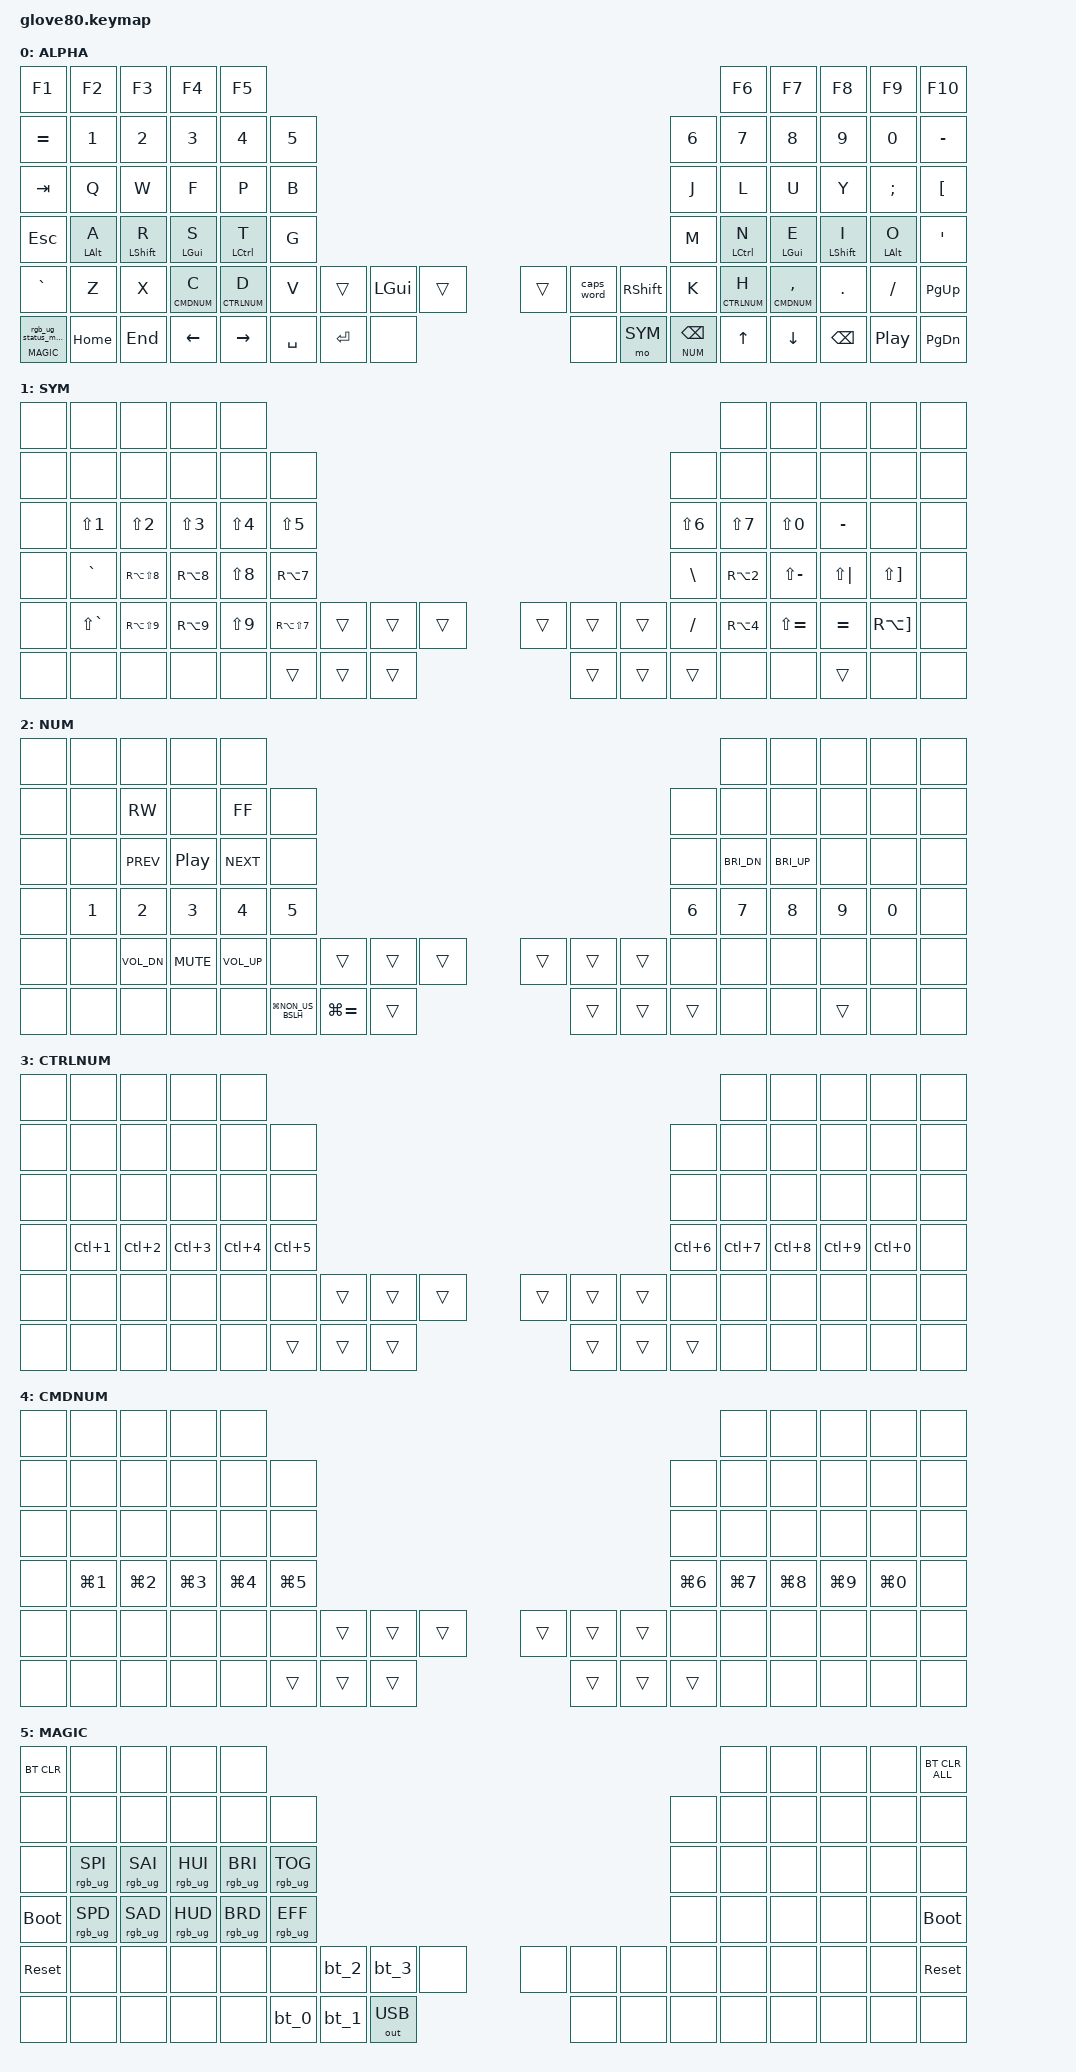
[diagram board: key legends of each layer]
/*
* Copyright (c) 2020 The ZMK Contributors
* Copyright (c) 2025 Innaworks Development Limited, trading as MoErgo
*
* SPDX-License-Identifier: MIT
*/


/* THIS FILE WAS GENERATED BY GLOVE80 LAYOUT EDITOR
*
* This file was generated automatically. You may or may not want to
* edit it directly.
*/

#include <behaviors.dtsi>
/* Include all behavior includes needed */
#include <dt-bindings/zmk/outputs.h>
#include <dt-bindings/zmk/keys.h>
#include <dt-bindings/zmk/bt.h>
#include <dt-bindings/zmk/rgb.h>

#define KSFT 57
#define KDOT 60
#define KCOMMA 61
#define KMINUS 62
#define KA 35
#define KB 27
#define KC 49
#define KD 50
#define KE 42
#define KF 25
#define KG 39
#define KH 59
#define KI 43
#define KJ 28
#define KK 58
#define KL 29
#define KM 40
#define KN 41
#define KO 44
#define KAUML 45
#define KP 26
#define KQ 23
#define KR 36
#define KS 37
#define KT 38
#define KU 30
#define KV 51
#define KW 24
#define KX 48
#define KY 31
#define KOUML 32
#define KARING 33
#define KZ 47
#define ARROWL 67 
#define ARROWR 68
#define KSPACE 70
#define KBSPC 74
#define KBSPC2 77
#define KDUP 74
#define KAPOS 999999

/* Automatically generated layer name #define */
#define ALPHA 0
#define SYM 1
#define NUM 2
#define CTRLNUM 3
#define CMDNUM 4
#define MAGIC 5

/* To deal with the situation where there is no Lower layer, to keep &lower happy */
#ifndef LAYER_Lower
#define LAYER_Lower 0
#endif

/* #define for key positions */
#define POS_LH_T2 53
#define POS_LH_T1 52
#define POS_LH_T3 54
#define POS_LH_T4 69
#define POS_LH_T5 70
#define POS_LH_T6 71
#define POS_LH_C1R2 15
#define POS_LH_C1R3 27
#define POS_LH_C1R4 39
#define POS_LH_C1R5 51
#define POS_LH_C2R1 4
#define POS_LH_C2R2 14
#define POS_LH_C2R3 26
#define POS_LH_C2R4 38
#define POS_LH_C2R5 50
#define POS_LH_C2R6 68
#define POS_LH_C3R1 3
#define POS_LH_C3R2 13
#define POS_LH_C3R3 25
#define POS_LH_C3R4 37
#define POS_LH_C3R5 49
#define POS_LH_C3R6 67
#define POS_LH_C4R1 2
#define POS_LH_C4R2 12
#define POS_LH_C4R3 24
#define POS_LH_C4R4 36
#define POS_LH_C4R5 48
#define POS_LH_C4R6 66
#define POS_LH_C5R1 1
#define POS_LH_C5R2 11
#define POS_LH_C5R3 23
#define POS_LH_C5R4 35
#define POS_LH_C5R5 47
#define POS_LH_C5R6 65
#define POS_LH_C6R1 0
#define POS_LH_C6R2 10
#define POS_LH_C6R3 22
#define POS_LH_C6R4 34
#define POS_LH_C6R5 46
#define POS_LH_C6R6 64
#define POS_RH_T1 57
#define POS_RH_T2 56
#define POS_RH_T3 55
#define POS_RH_T4 74
#define POS_RH_T5 73
#define POS_RH_T6 72
#define POS_RH_C1R2 16
#define POS_RH_C1R3 28
#define POS_RH_C1R4 40
#define POS_RH_C1R5 58
#define POS_RH_C2R1 5
#define POS_RH_C2R2 17
#define POS_RH_C2R3 29
#define POS_RH_C2R4 41
#define POS_RH_C2R5 59
#define POS_RH_C2R6 75
#define POS_RH_C3R1 6
#define POS_RH_C3R2 18
#define POS_RH_C3R3 30
#define POS_RH_C3R4 42
#define POS_RH_C3R5 60
#define POS_RH_C3R6 76
#define POS_RH_C4R1 7
#define POS_RH_C4R2 19
#define POS_RH_C4R3 31
#define POS_RH_C4R4 43
#define POS_RH_C4R5 61
#define POS_RH_C4R6 77
#define POS_RH_C5R1 8
#define POS_RH_C5R2 20
#define POS_RH_C5R3 32
#define POS_RH_C5R4 44
#define POS_RH_C5R5 62
#define POS_RH_C5R6 78
#define POS_RH_C6R1 9
#define POS_RH_C6R2 21
#define POS_RH_C6R3 33
#define POS_RH_C6R4 45
#define POS_RH_C6R5 63
#define POS_RH_C6R6 79


/ {
    underglow {
        compatible = "zmk,underglow";

        // Optional: default color when no layer is active
        color = <32 32 32>;  // Soft white or dim gray

        // Per-layer colors: layer 1 = green, layer 2 = blue
        layer-colors = <0 255 0>, <0 0 255>;
    };

    behaviors {
         mt_shift_caps: behavior_hold_tap {
            compatible = "zmk,behavior-hold-tap";
            #binding-cells = <2>;
            flavor = "balanced";
            require-prior-idle-ms = <150>;
            tapping-term-ms = <280>;
            quick-tap-ms = <175>;
            bindings = <&kp >, <&caps_word>;
        };

         ltl: layer_tap_left {
            compatible = "zmk,behavior-hold-tap";
            #binding-cells = <2>;
            flavor = "balanced";
            require-prior-idle-ms = <150>;
            tapping-term-ms = <280>;
            quick-tap-ms = <175>;
            bindings = <&mo>, <&kp>;
            hold-trigger-key-positions = < KM KN KE KI KO >;
            hold-trigger-on-release;
        };
        ltr: layer_tap_right {
            compatible = "zmk,behavior-hold-tap";
            #binding-cells = <2>;
            flavor = "balanced";
            require-prior-idle-ms = <150>;
            tapping-term-ms = <280>;
            quick-tap-ms = <175>;
            bindings = <&mo>, <&kp>;
            hold-trigger-key-positions = < KA KR KS KT KG >;
            hold-trigger-on-release;
        };

        // Backspace paired with NUM, not SYM. SYM needs to engage instantly
        // for a single bracket mid-flow, which no flavour could do without
        // also turning fast backspacing into symbols -- so SYM is a plain
        // &mo now. NUM is held deliberately while typing several digits, so
        // "tap-preferred" suits it: other keypresses never resolve the hold,
        // meaning a fast backspace tap always stays a backspace.
        lt_bspc: layer_tap_bspc {
            compatible = "zmk,behavior-hold-tap";
            #binding-cells = <2>;
            flavor = "tap-preferred";
            tapping-term-ms = <200>;
            quick-tap-ms = <300>;
            bindings = <&mo>, <&kp>;
        };

         hml: home_row_mod_left {
            compatible = "zmk,behavior-hold-tap";
            #binding-cells = <2>;
            flavor = "balanced";
            require-prior-idle-ms = <150>;
            tapping-term-ms = <280>;
            quick-tap-ms = <175>;
            bindings = <&kp>, <&kp>;
            hold-trigger-key-positions = < KJ KL KU KY KOUML KM KN KE KI KO KAUML KK KH KCOMMA KDOT KMINUS KBSPC KBSPC2 >;
            hold-trigger-on-release;
        };
        hmr: home_row_mod_right {
            compatible = "zmk,behavior-hold-tap";
            #binding-cells = <2>;
            flavor = "balanced";
            require-prior-idle-ms = <150>;
            tapping-term-ms = <280>;
            quick-tap-ms = <175>;
            bindings = <&kp>, <&kp>;
            hold-trigger-key-positions = < KQ KW KF KP KB KA KR KS KT KG KZ KX KC KD KV >; // List of keys on the left side of the keyboard
            hold-trigger-on-release;
        };
        /* cyc_wrk: cycle_work_working { */
        /*     compatible = "chord-cycle,behavior-cycle-string"; */
        /*     #binding-cells = <1>; // Behavior now takes 1 parameter (list index) */
        /* }; */

        magic: magic {
            compatible = "zmk,behavior-hold-tap";
            label = "MAGIC_HOLD_TAP";
            #binding-cells = <2>;
            flavor = "tap-preferred";
            tapping-term-ms = <200>;
            bindings = <&mo>, <&rgb_ug_status_macro>;
        };

        // For the "layer" key, it'd nice to be able to use it as either a shift or a toggle.
        // Configure it as a tap dance, so the first tap (or hold) is a &mo and the second tap is a &to
        lower: lower {
            compatible = "zmk,behavior-tap-dance";
            label = "LAYER_TAP_DANCE";
            #binding-cells = <0>;
            tapping-term-ms = <200>;
            bindings = <&mo LAYER_Lower>, <&to LAYER_Lower>;
        };

        #ifdef BT_DISC_CMD
        bt_0: bt_0 {
            compatible = "zmk,behavior-tap-dance";
            label = "BT_0";
            #binding-cells = <0>;
            tapping-term-ms = <200>;
            bindings = <&bt_select_0>, <&bt BT_DISC 0>;
        };
        bt_1: bt_1 {
            compatible = "zmk,behavior-tap-dance";
            label = "BT_1";
            #binding-cells = <0>;
            tapping-term-ms = <200>;
            bindings = <&bt_select_1>, <&bt BT_DISC 1>;
        };
        bt_2: bt_2 {
            compatible = "zmk,behavior-tap-dance";
            label = "BT_2";
            #binding-cells = <0>;
            tapping-term-ms = <200>;
            bindings = <&bt_select_2>, <&bt BT_DISC 2>;
        };
        bt_3: bt_3 {
            compatible = "zmk,behavior-tap-dance";
            label = "BT_3";
            #binding-cells = <0>;
            tapping-term-ms = <200>;
            bindings = <&bt_select_3>, <&bt BT_DISC 3>;
        };
        #endif
    };

    macros {
        rgb_ug_status_macro: rgb_ug_status_macro {
            label = "RGB_UG_STATUS";
            compatible = "zmk,behavior-macro";
            #binding-cells = <0>;
            bindings
                = <&rgb_ug RGB_STATUS>;
        };

        #ifdef BT_DISC_CMD
        bt_select_0: bt_select_0 {
            label = "BT_SELECT_0";
            compatible = "zmk,behavior-macro";
            #binding-cells = <0>;
            bindings
                = <&out OUT_BLE>,
                <&bt BT_SEL 0>;
        };
        bt_select_1: bt_select_1 {
            label = "BT_SELECT_1";
            compatible = "zmk,behavior-macro";
            #binding-cells = <0>;
            bindings
                = <&out OUT_BLE>,
                <&bt BT_SEL 1>;
        };
        bt_select_2: bt_select_2 {
            label = "BT_SELECT_2";
            compatible = "zmk,behavior-macro";
            #binding-cells = <0>;
            bindings
                = <&out OUT_BLE>,
                <&bt BT_SEL 2>;
        };
        bt_select_3: bt_select_3 {
            label = "BT_SELECT_3";
            compatible = "zmk,behavior-macro";
            #binding-cells = <0>;
            bindings
                = <&out OUT_BLE>,
                <&bt BT_SEL 3>;
        };
        #else
        bt_0: bt_0 {
            label = "BT_0";
            compatible = "zmk,behavior-macro";
            #binding-cells = <0>;
            bindings
                = <&out OUT_BLE>,
                <&bt BT_SEL 0>;
        };
        bt_1: bt_1 {
            label = "BT_1";
            compatible = "zmk,behavior-macro";
            #binding-cells = <0>;
            bindings
                = <&out OUT_BLE>,
                <&bt BT_SEL 1>;
        };
        bt_2: bt_2 {
            label = "BT_2";
            compatible = "zmk,behavior-macro";
            #binding-cells = <0>;
            bindings
                = <&out OUT_BLE>,
                <&bt BT_SEL 2>;
        };
        bt_3: bt_3 {
            label = "BT_3";
            compatible = "zmk,behavior-macro";
            #binding-cells = <0>;
            bindings
                = <&out OUT_BLE>,
                <&bt BT_SEL 3>;
        };
        #endif
    };

    keymap {
        compatible = "zmk,keymap";

        ALPHA {
            bindings = <
                &kp F1    &kp F2   &kp F3    &kp F4     &kp F5                                                                                     &kp F6     &kp F7    &kp F8    &kp F9    &kp F10
                &kp EQUAL    &kp N1   &kp N2    &kp N3     &kp N4  &kp N5                                                                  &kp N6  &kp N7     &kp N8    &kp N9    &kp N0  &kp MINUS
                &kp TAB     &kp Q    &kp W     &kp F      &kp P   &kp B                                                                      &kp J   &kp L      &kp U     &kp Y  &kp SEMI   &kp LBKT
                &kp ESC     &hml LALT A    &hml LSHIFT R     &hml LGUI S      &hml LCTRL T   &kp G                                                                      &kp M   &hmr LCTRL N      &hmr LGUI E     &hmr LSHIFT I     &hmr LALT O    &kp SQT
                &kp GRAVE     &kp Z    &kp X     &ltl CMDNUM C      &ltl CTRLNUM D   &kp V  &trans &kp LGUI &trans &trans &caps_word  &kp RSHFT &kp K  &ltr CTRLNUM H  &ltr CMDNUM COMMA   &kp DOT  &kp FSLH  &kp PG_UP
                &magic MAGIC  0 &kp HOME  &kp END  &kp LEFT  &kp RIGHT            &kp SPACE  &kp RET   &none               &none  &mo SYM      &lt_bspc NUM BSPC          &kp UP   &kp DOWN  &kp BSPC  &kp C_PP  &kp PG_DN
            >;
        };

        SYM {
            bindings = <
                &none                &none       &none       &none        &none                                                                                        &none          &none         &none         &none   &none
                &none                &none       &none       &none        &none                &none                                                       &none       &none          &none         &none         &none   &none
                &none           &kp LS(N1)  &kp LS(N2)  &kp LS(N3)   &kp LS(N4)           &kp LS(N5)                                                &kp LS(N6)  &kp LS(N7)     &kp LS(N0)     &kp MINUS         &none   &none
                &none      &kp GRAVE  &kp RA(LS(N8))  &kp RA(N8)  &kp LS(N8)  &kp RA(N7)                                                   &kp BSLH  &kp RA(N2)  &kp LS(MINUS)  &kp LS(PIPE)  &kp LS(RBKT)   &none
                &none  &kp LS(GRAVE)  &kp RA(LS(N9))  &kp RA(N9)  &kp LS(N9)        &kp RA(LS(N7))  &trans  &trans  &trans  &trans  &trans  &trans    &kp FSLH  &kp RA(N4)  &kp LS(EQUAL)     &kp EQUAL  &kp RA(RBKT)   &none
                &none                &none       &none       &none        &none                       &trans  &trans  &trans  &trans  &trans  &trans                   &none          &none        &trans         &none   &none
            >;
        };

        NUM {
            bindings = <
                &none   &none         &none       &none         &none                                                                          &none         &none   &none   &none   &none
                &none   &none         &kp C_RW &none         &kp C_FF &none                                                   &none          &none         &none   &none   &none   &none
                &none   &none    &kp C_PREV    &kp C_PP    &kp C_NEXT   &none                                                   &none   &kp C_BRI_DN  &kp C_BRI_UP   &none   &none   &none
                &none  &kp N1        &kp N2      &kp N3        &kp N4  &kp N5                                                  &kp N6         &kp N7        &kp N8  &kp N9  &kp N0   &none
                &none   &none  &kp C_VOL_DN  &kp C_MUTE  &kp C_VOL_UP   &none  &trans &trans  &trans  &trans  &trans  &trans   &none          &none         &none   &none   &none   &none
                &none   &none         &none       &none         &none          &kp LG(NON_US_BSLH)  &kp LG(EQUAL) &trans  &trans  &trans  &trans           &none         &none  &trans   &none   &none
            >;
        };

        CTRLNUM {
            bindings = <
                &none   &none         &none       &none         &none                                                                          &none         &none   &none   &none   &none
                &none   &none         &none       &none         &none   &none                                                   &none          &none         &none   &none   &none   &none
                &none   &none         &none       &none         &none   &none                                                   &none          &none         &none   &none   &none   &none
                &none  &kp LC(N1)        &kp LC(N2)      &kp LC(N3)        &kp LC(N4)  &kp LC(N5)                                                  &kp LC(N6)         &kp LC(N7)        &kp LC(N8)  &kp LC(N9)  &kp LC(N0)   &none
                &none   &none         &none       &none         &none   &none &trans  &trans  &trans  &trans  &trans  &trans    &none          &none         &none  &none &none   &none   
                &none         &none       &none         &none   &none &trans  &trans  &trans  &trans  &trans  &trans     &none          &none         &none  &none &none   
            >;
        };

        CMDNUM {
            bindings = <
                &none   &none         &none       &none         &none                                                                          &none         &none   &none   &none   &none
                &none   &none         &none       &none         &none   &none                                                   &none          &none         &none   &none   &none   &none
                &none   &none         &none       &none         &none   &none                                                   &none          &none         &none   &none   &none   &none
                &none  &kp LG(N1)        &kp LG(N2)      &kp LG(N3)        &kp LG(N4)  &kp LG(N5)                                                  &kp LG(N6)         &kp LG(N7)        &kp LG(N8)  &kp LG(N9)  &kp LG(N0)   &none
                &none   &none         &none       &none         &none   &none &trans  &trans  &trans  &trans  &trans  &trans    &none          &none         &none  &none &none   &none   
                &none         &none       &none         &none   &none &trans  &trans  &trans  &trans  &trans  &trans     &none          &none         &none  &none &none   
            >;
        };

        MAGIC {
            bindings = <
                &bt BT_CLR            &none            &none            &none            &none                                                                                  &none   &none   &none   &none  &bt BT_CLR_ALL
                &none            &none            &none            &none            &none            &none                                                         &none   &none   &none   &none   &none           &none
                &none  &rgb_ug RGB_SPI  &rgb_ug RGB_SAI  &rgb_ug RGB_HUI  &rgb_ug RGB_BRI  &rgb_ug RGB_TOG                                                         &none   &none   &none   &none   &none           &none
                &bootloader  &rgb_ug RGB_SPD  &rgb_ug RGB_SAD  &rgb_ug RGB_HUD  &rgb_ug RGB_BRD  &rgb_ug RGB_EFF                                                         &none   &none   &none   &none   &none     &bootloader
                &sys_reset            &none            &none            &none            &none            &none   &bt_2   &bt_3         &none   &none   &none   &none   &none   &none   &none   &none   &none      &sys_reset
                &none            &none            &none            &none            &none                    &bt_0   &bt_1  &out OUT_USB   &none   &none   &none           &none   &none   &none   &none           &none
            >;
        };
    };
};
